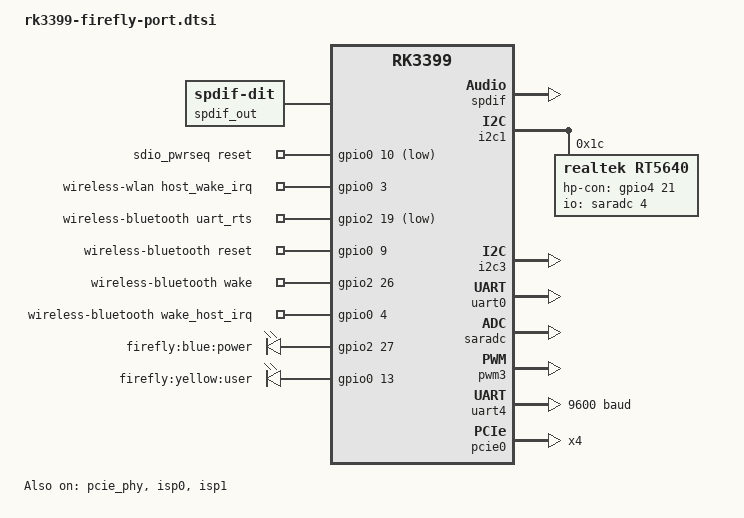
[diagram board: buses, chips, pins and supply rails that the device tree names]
/*
 * Copyright (c) 2016 Fuzhou Rockchip Electronics Co., Ltd
 *
 * This file is dual-licensed: you can use it either under the terms
 * of the GPL or the X11 license, at your option. Note that this dual
 * licensing only applies to this file, and not this project as a
 * whole.
 *
 *  a) This file is free software; you can redistribute it and/or
 *     modify it under the terms of the GNU General Public License as
 *     published by the Free Software Foundation; either version 2 of the
 *     License, or (at your option) any later version.
 *
 *     This file is distributed in the hope that it will be useful,
 *     but WITHOUT ANY WARRANTY; without even the implied warranty of
 *     MERCHANTABILITY or FITNESS FOR A PARTICULAR PURPOSE.  See the
 *     GNU General Public License for more details.
 *
 * Or, alternatively,
 *
 *  b) Permission is hereby granted, free of charge, to any person
 *     obtaining a copy of this software and associated documentation
 *     files (the "Software"), to deal in the Software without
 *     restriction, including without limitation the rights to use,
 *     copy, modify, merge, publish, distribute, sublicense, and/or
 *     sell copies of the Software, and to permit persons to whom the
 *     Software is furnished to do so, subject to the following
 *     conditions:
 *
 *     The above copyright notice and this permission notice shall be
 *     included in all copies or substantial portions of the Software.
 *
 *     THE SOFTWARE IS PROVIDED "AS IS", WITHOUT WARRANTY OF ANY KIND,
 *     EXPRESS OR IMPLIED, INCLUDING BUT NOT LIMITED TO THE WARRANTIES
 *     OF MERCHANTABILITY, FITNESS FOR A PARTICULAR PURPOSE AND
 *     NONINFRINGEMENT. IN NO EVENT SHALL THE AUTHORS OR COPYRIGHT
 *     HOLDERS BE LIABLE FOR ANY CLAIM, DAMAGES OR OTHER LIABILITY,
 *     WHETHER IN AN ACTION OF CONTRACT, TORT OR OTHERWISE, ARISING
 *     FROM, OUT OF OR IN CONNECTION WITH THE SOFTWARE OR THE USE OR
 *     OTHER DEALINGS IN THE SOFTWARE.
 */

#include <dt-bindings/input/input.h>
#include "rk3399-firefly-core.dtsi"
#include "rk3399-firefly-demo.dtsi"

/ {
	compatible = "rockchip,rk3399-firefly-port", "rockchip,rk3399";

	rt5640-sound {
		compatible = "simple-audio-card";
		simple-audio-card,format = "i2s";
		simple-audio-card,name = "rockchip,rt5640-codec";
		simple-audio-card,mclk-fs = <256>;
		simple-audio-card,widgets =
			"Microphone", "Mic Jack",
			"Headphone", "Headphone Jack";
		simple-audio-card,routing =
			"Mic Jack", "MICBIAS1",
			"IN1P", "Mic Jack",
			"Headphone Jack", "HPOL",
			"Headphone Jack", "HPOR";
/*
		simple-audio-card,cpu {
			sound-dai = <&i2s1>;
		};
		simple-audio-card,codec {
			sound-dai = <&rt5640>;
		};
*/
	};

	spdif-sound {
		status = "okay";
		compatible = "simple-audio-card";
		simple-audio-card,name = "ROCKCHIP,SPDIF";
		simple-audio-card,cpu {
			sound-dai = <&spdif>;
		};
		simple-audio-card,codec {
			sound-dai = <&spdif_out>;
		};
	};

	spdif_out: spdif-out {
		status = "okay";
		compatible = "linux,spdif-dit";
		#sound-dai-cells = <0>;
	};

	sdio_pwrseq: sdio-pwrseq {
		compatible = "mmc-pwrseq-simple";
		clocks = <&rk808 1>;
		clock-names = "ext_clock";
		pinctrl-names = "default";
		pinctrl-0 = <&wifi_enable_h>;

		/*
		 * On the module itself this is one of these (depending
		 * on the actual card populated):
		 * - SDIO_RESET_L_WL_REG_ON
		 * - PDN (power down when low)
		 */
		reset-gpios = <&gpio0 10 GPIO_ACTIVE_LOW>; /* GPIO0_B2 */
	};

	wireless-wlan {
		compatible = "wlan-platdata";
		rockchip,grf = <&grf>;
		wifi_chip_type = "ap6356s";
		sdio_vref = <1800>;
		WIFI,host_wake_irq = <&gpio0 3 GPIO_ACTIVE_HIGH>; /* GPIO0_a3 */
		status = "okay";
	};

	wireless-bluetooth {
		compatible = "bluetooth-platdata";
		clocks = <&rk808 1>;
		clock-names = "ext_clock";
		//wifi-bt-power-toggle;
		uart_rts_gpios = <&gpio2 19 GPIO_ACTIVE_LOW>; /* GPIO2_C3 */
		pinctrl-names = "default", "rts_gpio";
		pinctrl-0 = <&uart0_rts>;
		pinctrl-1 = <&uart0_gpios>;
		//BT,power_gpio  = <&gpio3 19 GPIO_ACTIVE_HIGH>; /* GPIOx_xx */
		BT,reset_gpio    = <&gpio0 9 GPIO_ACTIVE_HIGH>; /* GPIO0_B1 */
		BT,wake_gpio     = <&gpio2 26 GPIO_ACTIVE_HIGH>; /* GPIO2_D2 */
		BT,wake_host_irq = <&gpio0 4 GPIO_ACTIVE_HIGH>; /* GPIO0_A4 */
		status = "okay";
	};

    leds {
       compatible = "gpio-leds";
       power_led: power {
           label = "firefly:blue:power";
           linux,default-trigger = "ir-power-click";
           default-state = "on";
           gpios = <&gpio2 27 GPIO_ACTIVE_HIGH>;
           pinctrl-names = "default";
           pinctrl-0 = <&led_power>;
       };
       user_led: user {
           label = "firefly:yellow:user";
           linux,default-trigger = "ir-user-click";
           default-state = "off";
           gpios = <&gpio0 13 GPIO_ACTIVE_HIGH>;
           pinctrl-names = "default";
           pinctrl-0 = <&led_user>;
       };
   };

};

&spdif {
	status = "okay";
	pinctrl-0 = <&spdif_bus_1>;
	i2c-scl-rising-time-ns = <450>;
	i2c-scl-falling-time-ns = <15>;
	#sound-dai-cells = <0>;
};

&i2c1 {
	status = "okay";
	i2c-scl-rising-time-ns = <300>;
	i2c-scl-falling-time-ns = <15>;

	rt5640: rt5640@1c {
		#sound-dai-cells = <0>;
		compatible = "realtek,rt5640";
		reg = <0x1c>;
		clocks = <&cru SCLK_I2S_8CH_OUT>;
		clock-names = "mclk";
		realtek,in1-differential;
		pinctrl-names = "default";
		pinctrl-0 = <&rt5640_hpcon &i2s_8ch_mclk>;
		hp-con-gpio = <&gpio4 21 GPIO_ACTIVE_HIGH>;
		//hp-det-gpio = <&gpio4 28 GPIO_ACTIVE_LOW>;
		io-channels = <&saradc 4>;
		hp-det-adc-value = <500>;
	};
};

&i2c3 {                                                                                                                                        
        status = "okay";
        i2c-scl-rising-time-ns = <450>;
        i2c-scl-falling-time-ns = <15>;
};

&i2c4 {
    gsl3680: gsl3680@41 {
	      status = "disabled";
              compatible = "gslX680";
              reg = <0x41>;
              screen_max_x = <1536>;
              screen_max_y = <2048>;
              touch-gpio = <&gpio1 20 IRQ_TYPE_LEVEL_LOW>;
              reset-gpio = <&gpio0 12 GPIO_ACTIVE_HIGH>;
      };

	mpu6050:mpu@68{
            status = "disabled";
            compatible = "invensense,mpu6050";
            reg = <0x68>;
            mpu-int_config = <0x10>;
            mpu-level_shifter = <0>;
            mpu-orientation = <0 1 0 1 0 0 0 0 1>;
            orientation-x= <1>;
            orientation-y= <1>;
            orientation-z= <1>;
            irq-gpio = <&gpio1 4 IRQ_TYPE_LEVEL_LOW>;
            mpu-debug = <1>;
        };

};

&uart0 {
	pinctrl-names = "default";
	pinctrl-0 = <&uart0_xfer &uart0_cts>;
	status = "okay";
};

&saradc {
	status = "okay";
};

&rockchip_suspend {
	status = "okay";
	rockchip,sleep-debug-en = <1>;
	rockchip,sleep-mode-config = <
		(0
		| RKPM_SLP_ARMPD
		| RKPM_SLP_PERILPPD
		| RKPM_SLP_DDR_RET
		| RKPM_SLP_PLLPD
		| RKPM_SLP_CENTER_PD
		| RKPM_SLP_AP_PWROFF
		)
		>;
	rockchip,wakeup-config = <
		(0
		| RKPM_GPIO_WKUP_EN
		| RKPM_PWM_WKUP_EN
		)
		>;
		rockchip,pwm-regulator-config = <
		(0
		| PWM2_REGULATOR_EN
		)
		>;
		rockchip,power-ctrl =
		<&gpio1 17 GPIO_ACTIVE_HIGH>,
		<&gpio1 14 GPIO_ACTIVE_HIGH>;
};

&pinctrl {
	sdio-pwrseq {
		wifi_enable_h: wifi-enable-h {
			rockchip,pins =
				<0 10 RK_FUNC_GPIO &pcfg_pull_none>;
		};
	};

	wireless-bluetooth {
		uart0_gpios: uart0-gpios {
			rockchip,pins =
				<2 19 RK_FUNC_GPIO &pcfg_pull_none>;
		};
	};

	rt5640 {
		rt5640_hpcon: rt5640-hpcon {
			rockchip,pins = <4 21 RK_FUNC_GPIO &pcfg_pull_none>;
		};
	};

	leds {
		led_power: led-power {
			rockchip,pins = <2 27 RK_FUNC_GPIO &pcfg_pull_none>;
		};

		led_user: led-user {
			rockchip,pins = <0 13 RK_FUNC_GPIO &pcfg_pull_none>;
		};
	};

};

&pwm3 {
	status = "okay";
	interrupts = <GIC_SPI 61 IRQ_TYPE_LEVEL_HIGH 0>;
	compatible = "rockchip,remotectl-pwm";
	remote_pwm_id = <3>;
	handle_cpu_id = <1>;
	remote_support_psci = <1>;

	ir_key1{
		rockchip,usercode = <0xff00>;
		rockchip,key_table =
			<0xeb  KEY_POWER>,
			<0xec  KEY_MENU>,
			<0xfe  KEY_BACK>,
			<0xb7  KEY_HOME>,
			<0xa3  KEY_WWW>,
			<0xf4  KEY_VOLUMEUP>,
			<0xa7  KEY_VOLUMEDOWN>,
			<0xf8  KEY_REPLY>,
			<0xfc  KEY_UP>,
			<0xfd  KEY_DOWN>,
			<0xf1  KEY_LEFT>,
			<0xe5  KEY_RIGHT>;
	};

	ir_key2{
		rockchip,usercode = <0x654c>;
		rockchip,key_table = 
			<0xf5  KEY_POWER>,
			<0xbc  KEY_TV>,
			<0xbb  KEY_PC>,
			<0xbe  KEY_UNKNOWN>,
			<0xb8  KEY_VCR>,
			<0xfe  KEY_1>,
			<0xfd  KEY_2>,
			<0xfc  KEY_3>,
			<0xfb  KEY_4>,
			<0xfa  KEY_5>,
			<0xf9  KEY_6>,
			<0xf8  KEY_7>,
			<0xf7  KEY_8>,
			<0xf6  KEY_9>,
			<0xba  KEY_0>,
			<0xed  KEY_UNKNOWN>,
			<0xa7  KEY_LIST>,
			<0xea  KEY_VOLUMEUP>,
			<0xe3  KEY_VOLUMEDOWN>,
			<0xe0  KEY_CHANNELUP>,
			<0xe1  KEY_CHANNELDOWN>,
			<0xf0  KEY_MUTE>,
			<0xff  KEY_SETUP>,
			<0xbf  KEY_SCREEN>,
			<0xf3  KEY_UNKNOWN>,
			<0xf4  KEY_UP>,
			<0xf1  KEY_DOWN>,
			<0xef  KEY_LEFT>,
			<0xee  KEY_RIGHT>,
			<0xf2  KEY_OK>,
			<0xc8  KEY_MENU>,
			<0xe2  KEY_BACK>,
			<0xe9  KEY_HOME>,
			<0xac  KEY_VIDEO_PREV>,
			<0xa4  KEY_VIDEO_PREV>,
			<0xa8  KEY_PREVIOUS>,
			<0xab  KEY_NEXT>,
			<0xec  KEY_PLAYPAUSE>,
			<0xeb  KEY_STOP>;
	};
};

&uart4 {
	current-speed = <9600>;
	no-loopback-test;
	status = "okay";
};

&spi1 {
	spi_wk2xxx: spi_wk2xxx@00{
		status = "disabled";
		compatible = "firefly,spi-wk2xxx";
		reg = <0x00>;
		spi-max-frequency = <10000000>;
        power-gpio = <&gpio2 4 GPIO_ACTIVE_HIGH>;
        reset-gpio = <&gpio1 17 3 GPIO_ACTIVE_HIGH>;
        irq-gpio = <&gpio1 2 IRQ_TYPE_EDGE_FALLING>;
        cs-gpio = <&gpio1 10 GPIO_ACTIVE_HIGH>;
		/* rk3399 driver support SPI_CPOL | SPI_CPHA | SPI_CS_HIGH */
		//spi-cpha;		/* SPI mode: CPHA=1 */
		//spi-cpol;   	/* SPI mode: CPOL=1 */
		//spi-cs-high;
	};
};

&spidev0 {
	status = "disabled";
};

&pcie_phy {
            status = "okay";
};
&pcie0 {
            ep-gpios = <&gpio3 13 GPIO_ACTIVE_HIGH>;
            num-lanes = <4>;
            pinctrl-names = "default";
            pinctrl-0 = <&pcie_clkreqn>;
            status = "okay";
};


&isp0 {
        status = "okay";
        rockchip,gpios = <&gpio1 22 GPIO_ACTIVE_HIGH>;
};

&isp1 {
        status = "okay";
        rockchip,gpios = <&gpio1 22 GPIO_ACTIVE_HIGH>;
};

&isp0_mmu {
    status = "okay";
};

&isp1_mmu {
    status = "okay";
};

